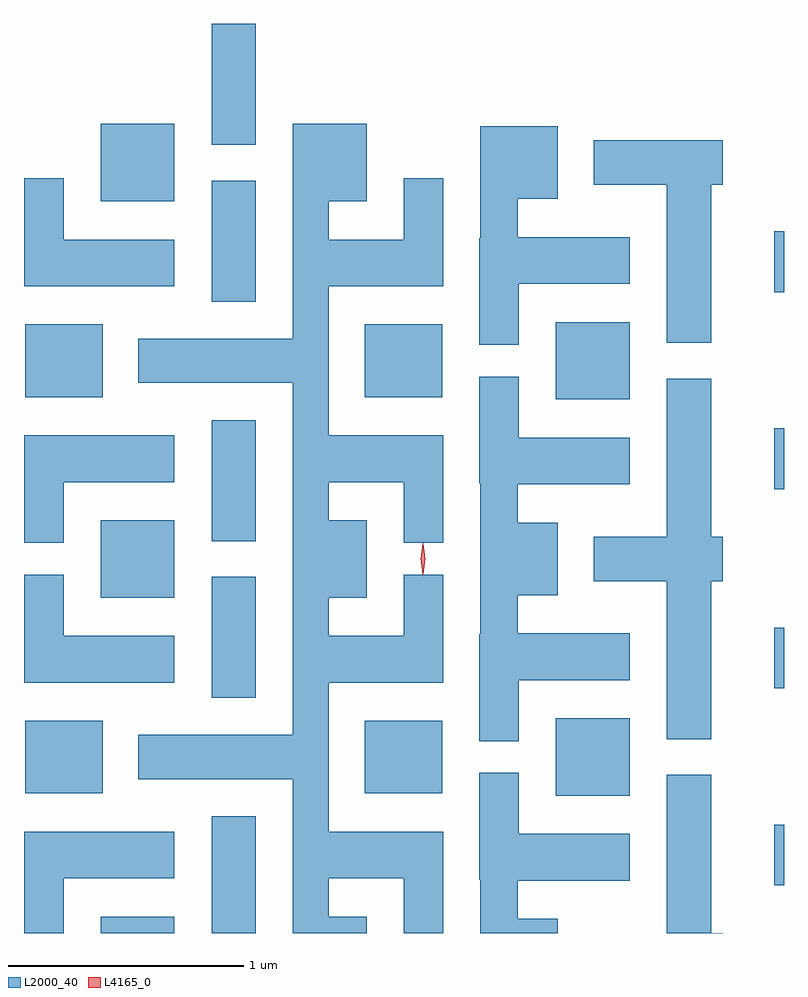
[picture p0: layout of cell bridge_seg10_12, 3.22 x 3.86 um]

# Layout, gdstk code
import gdstk
lib = gdstk.Library(unit=1e-6, precision=1e-09)
def R(c, l, rs):  # rectangles x0, y0, x1, y1
    for r in rs: c.add(gdstk.rectangle(r[:2], r[2:], *l))
def P(c, l, *ps):  # polygons
    for p in ps: c.add(gdstk.Polygon(p, *l))
L2000_40 = (2000, 40)
L4165_0 = (4165, 0)

bridge_seg10_12 = lib.new_cell('bridge_seg10_12')
R(bridge_seg10_12, L2000_40, [(1911.426,2177.663,1911.739,2177.734), (1911.896,2177.663,1912.084,2178.159), (1914.281,2177.866,1914.323,2178.124), (1913.356,2178.246,1913.669,2178.574), (1911.106,2178.256,1911.434,2178.564), (1912.546,2178.256,1912.874,2178.564), (1911.896,2178.661,1912.084,2179.174), (1914.281,2178.701,1914.323,2178.959), (1911.426,2179.086,1911.739,2179.414), (1911.896,2179.326,1912.084,2179.839), (1914.281,2179.546,1914.323,2179.804), (1913.356,2179.926,1913.669,2180.254), (1911.106,2179.936,1911.434,2180.244), (1912.546,2179.936,1912.874,2180.244), (1911.896,2180.341,1912.084,2180.854), (1914.281,2180.381,1914.323,2180.639), (1911.426,2180.766,1911.739,2181.094), (1911.896,2181.006,1912.084,2181.519)])
P(bridge_seg10_12, L2000_40, [(1912.554,2177.734),(1912.394,2177.734),(1912.394,2177.896),(1912.711,2177.896),(1912.711,2177.663),(1912.879,2177.663),(1912.879,2178.094),(1912.394,2178.094),(1912.394,2178.726),(1912.879,2178.726),(1912.879,2179.183),(1912.711,2179.183),(1912.711,2178.924),(1912.394,2178.924),(1912.394,2179.086),(1912.554,2179.086),(1912.554,2179.414),(1912.394,2179.414),(1912.394,2179.576),(1912.711,2179.576),(1912.711,2179.318),(1912.879,2179.318),(1912.879,2179.774),(1912.394,2179.774),(1912.394,2180.406),(1912.879,2180.406),(1912.879,2180.863),(1912.711,2180.863),(1912.711,2180.604),(1912.394,2180.604),(1912.394,2180.766),(1912.554,2180.766),(1912.554,2181.094),(1912.241,2181.094),(1912.241,2180.184),(1911.586,2180.184),(1911.586,2179.996),(1912.241,2179.996),(1912.241,2178.504),(1911.586,2178.504),(1911.586,2178.316),(1912.241,2178.316),(1912.241,2177.663),(1912.554,2177.663)],
  [(1913.199,2180.416),(1913.669,2180.416),(1913.669,2180.614),(1913.194,2180.614),(1913.194,2180.776),(1913.364,2180.776),(1913.364,2181.084),(1913.036,2181.084),(1913.036,2180.61),(1913.031,2180.61),(1913.031,2180.158),(1913.199,2180.158)],
  [(1914.014,2180.836),(1914.064,2180.836),(1914.064,2181.024),(1913.516,2181.024),(1913.516,2180.836),(1913.826,2180.836),(1913.826,2180.166),(1914.014,2180.166)],
  [(1911.739,2180.604),(1911.269,2180.604),(1911.269,2180.863),(1911.101,2180.863),(1911.101,2180.406),(1911.739,2180.406)],
  [(1913.199,2178.736),(1913.669,2178.736),(1913.669,2178.934),(1913.194,2178.934),(1913.194,2179.096),(1913.364,2179.096),(1913.364,2179.404),(1913.194,2179.404),(1913.194,2179.566),(1913.669,2179.566),(1913.669,2179.764),(1913.199,2179.764),(1913.199,2180.023),(1913.031,2180.023),(1913.031,2179.57),(1913.036,2179.57),(1913.036,2178.93),(1913.031,2178.93),(1913.031,2178.478),(1913.199,2178.478)],
  [(1914.014,2179.156),(1914.064,2179.156),(1914.064,2179.344),(1914.014,2179.344),(1914.014,2180.014),(1913.826,2180.014),(1913.826,2179.344),(1913.516,2179.344),(1913.516,2179.156),(1913.826,2179.156),(1913.826,2178.486),(1914.014,2178.486)],
  [(1911.269,2179.576),(1911.739,2179.576),(1911.739,2179.774),(1911.101,2179.774),(1911.101,2179.318),(1911.269,2179.318)],
  [(1911.739,2178.924),(1911.269,2178.924),(1911.269,2179.183),(1911.101,2179.183),(1911.101,2178.726),(1911.739,2178.726)],
  [(1913.364,2177.724),(1913.194,2177.724),(1913.194,2177.886),(1913.669,2177.886),(1913.669,2178.084),(1913.199,2178.084),(1913.199,2178.343),(1913.031,2178.343),(1913.031,2177.89),(1913.036,2177.89),(1913.036,2177.663),(1913.364,2177.663)],
  [(1914.064,2177.664),(1914.014,2177.664),(1914.014,2178.334),(1913.826,2178.334),(1913.826,2177.664),(1913.516,2177.664),(1913.516,2177.663),(1914.064,2177.663)],
  [(1911.269,2177.896),(1911.739,2177.896),(1911.739,2178.094),(1911.101,2178.094),(1911.101,2177.663),(1911.269,2177.663)])
P(bridge_seg10_12, L4165_0, [(1912.793,2179.184),(1912.792,2179.185),(1912.783,2179.25),(1912.792,2179.315),(1912.793,2179.316),(1912.793,2179.315),(1912.803,2179.25),(1912.793,2179.185)])

lib.write_gds('bridge_seg10_12.gds')
